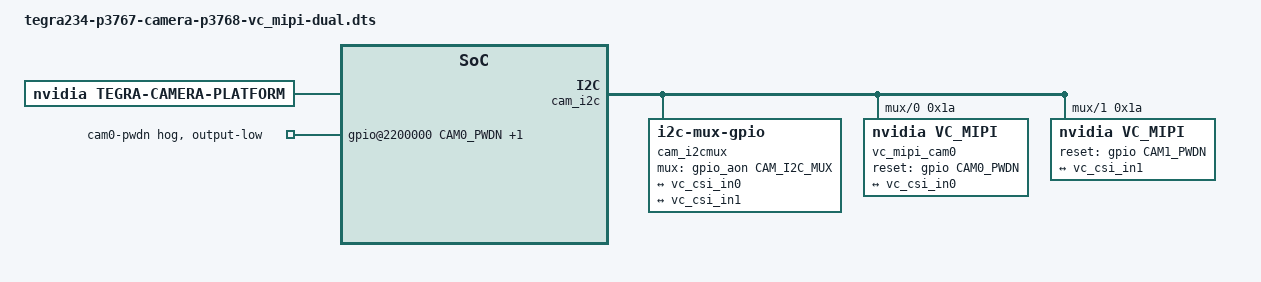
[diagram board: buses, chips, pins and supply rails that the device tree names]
// SPDX-License-Identifier: GPL-2.0-only
// SPDX-FileCopyrightText: Copyright (c) 2023, NVIDIA CORPORATION & AFFILIATES. All rights reserved.

/dts-v1/;
/plugin/;

#include <dt-bindings/tegra234-p3767-0000-common.h>

#include <dt-bindings/clock/tegra234-clock.h>
#include <dt-bindings/gpio/tegra234-gpio.h>

#define CAM_I2C_MUX	TEGRA234_AON_GPIO(CC, 3)

// ------------------------------------------------------------------------------------------------
//  Driver Configuration for NVIDIA Jetson Orin Nano on Auvidea JNX42 LM
// ------------------------------------------------------------------------------------------------
#define VC_MIPI_CAM_0       1   // 1: Enabled, 0: Disabled  (serial_a => CSI Port 0 => VI Stream 0)
#define VC_MIPI_CAM_1       1   // 1: Enabled, 0: Disabled  (serial_c => CSI Port 2 => VI Stream 2)
// ------------------------------------------------------------------------------------------------
//  Supported number of lanes
// -----+------------------------------------------------------------------------------------------
//  1   | OV7251, IMX296, IMX297
//  2   | OV9281, IMX264, IMX265
//  2,4 | IMX178, IMX183, IMX226, IMX250, IMX252, IMX273, IMX290, IMX327, IMX335, IMX392, 
//      | IMX412, IMX415, IMX462, IMX565, IMX566, IMX567, IMX568, IMX900
// -----+------------------------------------------------------------------------------------------
#define VC_MIPI_LANES       4   // 1, 2, 4 Lanes
// ------------------------------------------------------------------------------------------------
//  Embedded Metadata Height
// -----+------------------------------------------------------------------------------------------
//  0   | IMX178, IMX183, IMX226, IMX250, IMX252, IMX264, IMX265, IMX273, IMX392, OV7251, OV9281
//  1   | IMX290, IMX327, IMX335, IMX415, IMX462, IMX565, IMX566, IMX567, IMX568, IMX900
//  2   | IMX296, IMX297, IMX412
// -----+------------------------------------------------------------------------------------------
#define VC_MIPI_METADATA_H  "1" // "0", "1", "2" Lines of meta data
// ------------------------------------------------------------------------------------------------
//   Sensor Manufacturer
// -----+------------------------------------------------------------------------------------------
//   1  | Sony Sensor (IMX)
//   2  | Omni Vision Sensor (OV)
// -----+------------------------------------------------------------------------------------------
#define VC_MIPI_MANUFACTURER 1
// ------------------------------------------------------------------------------------------------
//  GStreamer Support
// ------------------------------------------------------------------------------------------------
//  If you want to use GStreamer with nvarguscamerasrc you have to adjust this settings in the 
//  device tree below. The sections which have to be modified are marked by a comment. 
//  To find the correct parameter values please follow the instruction in the main README.md of 
//  this repository https://github.com/VC-MIPI-modules/vc_mipi_nvidia#gstreamer-support
// ------------------------------------------------------------------------------------------------

//#########################################################################
//            _                 ___
//           [U]               [USB]     ___               JNX42 LM
//           [S]      ____     [===]    [ETH]    _         Rear view
//__<usb>____[B]_____[HDMI]____[USB]____[''']___[o]__
//===================================================      Revision 1
//                    [*]        [*]     [*]               
//                   Reset      F-Rec    Pwr               Buttons with
//                                                         Force Recovery
//#########################################################################
//            _                 ___
//           [U]               [USB]     ___               JNX42 LM
//           [S]      ____     [===]    [ETH]    _         Rear view
//__<usb>____[B]_____[HDMI]____[USB]____[''']___[o]__
//===================================================      Revision >= 2
//                    [*]      [...]     [*]               
//                   Reset               Pwr               Buttons without
//                                                         Force Recovery
//#########################################################################

// Cam0 and Cam1 Trigger pins are swapped in revision 1.0
// Auvidea board revision 2 and upwards will be compatible with NVIDIA device tree.
#define REVISION 1
#if REVISION == 1
        #define CAM0_PWDN       TEGRA234_MAIN_GPIO(AC, 0)
        #define CAM1_PWDN       TEGRA234_MAIN_GPIO(H, 6)
#else
        #define CAM0_PWDN       TEGRA234_MAIN_GPIO(H, 6)
        #define CAM1_PWDN       TEGRA234_MAIN_GPIO(AC, 0)
#endif

#if VC_MIPI_LANES == 1
        #define BUS_WIDTH 1
        #define NUM_LANES "1" 
        #define NUM_CSI_LANES 2
        #define PIX_CLK_HZ "150000000"
#endif
#if VC_MIPI_LANES == 2
        #define BUS_WIDTH 2
        #define NUM_LANES "2" 
        #define NUM_CSI_LANES 4
        #define PIX_CLK_HZ "300000000"
#endif
#if VC_MIPI_LANES == 4
        #define BUS_WIDTH 4
        #define NUM_LANES "4" 
        #define NUM_CSI_LANES 8
        #define PIX_CLK_HZ "600000000"
#endif

#if VC_MIPI_CAM_0 == 1 && VC_MIPI_CAM_1 == 1
        #define VC_MIPI_CAMERAS 2
#else
        #define VC_MIPI_CAMERAS 1
#endif


/ {
        overlay-name = "Camera VCMIPI Dual";
        jetson-header-name = "Jetson 24pin CSI Connector";
        compatible = JETSON_COMPATIBLE_P3768;

        fragment@0 {
                target-path = "/";
                __overlay__ {
                        tegra-capture-vi  {
                                num-channels = <VC_MIPI_CAMERAS>;
                                ports {
                                        #address-cells = <1>;
                                        #size-cells = <0>;
#if VC_MIPI_CAM_0 == 1
                                        vc_vi_port0: port@0 {
                                                reg = <0>;
                                                vc_vi_in0: endpoint {
                                                        port-index = <0>;
                                                        bus-width = <BUS_WIDTH>;
                                                        remote-endpoint = <&vc_csi_out0>;
                                                };
                                        };
#endif
#if VC_MIPI_CAM_1 == 1
                                        vc_vi_port1: port@1 {
                                                reg = <1>;
                                                vc_vi_in1: endpoint {
                                                        port-index = <2>;
                                                        bus-width = <BUS_WIDTH>;
                                                        remote-endpoint = <&vc_csi_out1>;
                                                };
                                        };
#endif
                                }; // ports
                        };
                        tegra-camera-platform {
                                compatible = "nvidia, tegra-camera-platform";

                                num_csi_lanes = <NUM_CSI_LANES>;
                                max_lane_speed = <1500000>;
                                min_bits_per_pixel = <10>;
                                vi_peak_byte_per_pixel = <2>;
                                vi_bw_margin_pct = <25>;
                                max_pixel_rate = <240000>;
                                isp_peak_byte_per_pixel = <5>;
                                isp_bw_margin_pct = <25>;

                                modules {
#if VC_MIPI_CAM_0 == 1
                                        cam_module0: module0 {
                                                badge = "jakku_front_vc_mipi";
                                                position = "front";
                                                orientation = "1";
                                                cam_module0_drivernode0: drivernode0 {
                                                        pcl_id = "v4l2_sensor";
#if VC_MIPI_MANUFACTURER == 1
                                                        devname = "vc_mipi 10-001a";
                                                        sysfs-device-tree = "/sys/firmware/devicetree/base/bus@0/cam_i2cmux/i2c@0/vc_mipi@1a";
#else
                                                        devname = "vc_mipi 10-0060";
                                                        sysfs-device-tree = "/sys/firmware/devicetree/base/bus@0/cam_i2cmux/i2c@0/vc_mipi@60";
#endif
                                                };
                                                cam_module0_drivernode1: drivernode1 {
                                                        pcl_id = "v4l2_lens";
                                                        sysfs-device-tree = "/sys/firmware/devicetree/base/bus@0/lens@vc_mipi";
                                                };
                                        };
#endif // VC_MIPI_CAM_0

#if VC_MIPI_CAM_1 == 1
                                        cam_module1: module1 {
                                                badge = "jakku_rear_vc_mipi";
                                                position = "rear";
                                                orientation = "1";
                                                cam_module1_drivernode0: drivernode0 {
                                                        pcl_id = "v4l2_sensor";
#if VC_MIPI_MANUFACTURER == 1
                                                        devname = "vc_mipi 9-001a";
                                                        sysfs-device-tree = "/sys/firmware/devicetree/base/bus@0/cam_i2cmux/i2c@1/vc_mipi@1a";
#else
                                                        devname = "vc_mipi 9-0060";
                                                        sysfs-device-tree = "/sys/firmware/devicetree/base/bus@0/cam_i2cmux/i2c@1/vc_mipi@60";
#endif	
                                                };
                                                cam_module1_drivernode1: drivernode1 {
                                                        pcl_id = "v4l2_lens";
                                                        sysfs-device-tree = "/sys/firmware/devicetree/base/bus@0/lens@vc_mipi/";
                                                };
                                        };
#endif // VC_MIPI_CAM_1
                                };
                        };
                        bus@0 {
                                host1x@13e00000 {
                                        nvcsi@15a00000 {
                                                num-channels = <VC_MIPI_CAMERAS>;
                                                #address-cells = <1>;
                                                #size-cells = <0>;

#if VC_MIPI_CAM_0 == 1
                                                vc_csi_chan0: channel@0 {
                                                        reg = <0>;
                                                        ports {
                                                                #address-cells = <1>;
                                                                #size-cells = <0>;
                                                                vc_csi_chan0_port0: port@0 {
                                                                        reg = <0>;
                                                                        vc_csi_in0: endpoint@0 {
                                                                                port-index = <0>;
                                                                                bus-width = <BUS_WIDTH>;
                                                                                remote-endpoint = <&vc_mipi_out0>;
                                                                        };
                                                                };
                                                                vc_csi_chan0_port1: port@1 {
                                                                        reg = <1>;
                                                                        vc_csi_out0: endpoint@1 {
                                                                                remote-endpoint = <&vc_vi_in0>;
                                                                        };
                                                                };
                                                        };
                                                };
#endif
#if VC_MIPI_CAM_1 == 1
                                                vc_csi_chan1: channel@1 {
                                                        reg = <1>;
                                                        ports {
                                                                #address-cells = <1>;
                                                                #size-cells = <0>;
                                                                vc_csi_chan1_port0: port@0 {
                                                                        reg = <0>;
                                                                        vc_csi_in1: endpoint@2 {
                                                                                port-index = <2>;
                                                                                bus-width = <BUS_WIDTH>;
                                                                                remote-endpoint = <&vc_mipi_out1>;
                                                                        };
                                                                };
                                                                vc_csi_chan1_port1: port@1 {
                                                                        reg = <1>;
                                                                        vc_csi_out1: endpoint@3 {
                                                                                remote-endpoint = <&vc_vi_in1>;
                                                                        };
                                                                };
                                                        };
                                                };
#endif
                                        };
                                };

                                cam_i2cmux {
                                        status = "okay";
                                        compatible = "i2c-mux-gpio";
                                        #address-cells = <1>;
                                        #size-cells = <0>;
                                        mux-gpios = <&gpio_aon CAM_I2C_MUX GPIO_ACTIVE_HIGH>;
                                        i2c-parent = <&cam_i2c>;

#if VC_MIPI_CAM_0 == 1
                                        i2c@0 {
                                                status = "okay";
                                                reg = <0>;
                                                #address-cells = <1>;
                                                #size-cells = <0>;

#if VC_MIPI_MANUFACTURER == 1
                                                vc_mipi_cam0: vc_mipi@1a {
                                                        reg                     = <0x1a>;
#else
                                                vc_mipi_cam0: vc_mipi@60 {
                                                        reg                     = <0x60>;
#endif
                                                        reset-gpios = <&gpio CAM0_PWDN GPIO_ACTIVE_HIGH>;

                                                        compatible              = "nvidia,vc_mipi";
                                                        devnode                 = "video0";
                                                        use_sensor_mode_id      = "false";
                                                        sensor_model            = "vc_mipi";

                                                        num_lanes               = NUM_LANES;
                                                        trigger_mode            = "0";
                                                        io_mode                 = "0";

                                                        // ----------------------------------------------------
                                                        // If you want to use GStreamer with nvarguscamerasrc
                                                        // you have to adjust this settings
                                                        physical_w              = "1.000";
                                                        physical_h              = "1.000";
                                                        // ----------------------------------------------------
                                                        // This node is needed by the Tegra framework.
                                                        // You don't have to change any settings if just want 
                                                        // to use the V4L API.
                                                        mode0 {
                                                                num_lanes                = NUM_LANES;
                                                                tegra_sinterface         = "serial_a";
                                                                embedded_metadata_height = VC_MIPI_METADATA_H;
                                                                readout_orientation      = "0";
                                                                lane_polarity            = "6";

                                                                // ----------------------------------------------------
                                                                // If you want to use GStreamer with nvarguscamerasrc
                                                                // you have to adjust this settings. 
                                                                active_l                 = "0";
                                                                active_t                 = "0";
                                                                active_w                 = "0";
                                                                active_h                 = "0";
                                                                mode_type                = "bayer";
                                                                pixel_phase              = "rggb";
                                                                csi_pixel_bit_depth      = "10";

                                                                min_gain_val             = "0";         // mdB
                                                                max_gain_val             = "48000";     // mdB
                                                                step_gain_val            = "50";       // mdB
                                                                default_gain             = "0";         // mdB

                                                                min_exp_time             = "1";         // us
                                                                max_exp_time             = "1000000";   // us
                                                                step_exp_time            = "1";         // us
                                                                default_exp_time         = "10000";     // us

                                                                // For applications like argus_camera, there should 
                                                                // be a minimal frame rate greater than zero!
                                                                min_framerate            = "100";       // mHz
                                                                max_framerate            = "60000";     // mHz
                                                                step_framerate           = "100";       // mHz
                                                                default_framerate        = "60000";     // mHz
                                                                // ----------------------------------------------------

                                                                gain_factor              = "1000";
                                                                exposure_factor          = "1000000";
                                                                framerate_factor         = "1000";
                                                                inherent_gain            = "1";
                                                                min_hdr_ratio            = "1";
                                                                max_hdr_ratio            = "1";

                                                                line_length              = "0";
                                                                phy_mode                 = "DPHY";
                                                                discontinuous_clk        = "no";
                                                                mclk_khz                 = "24000";
                                                                pix_clk_hz               = PIX_CLK_HZ;
                                                                mclk_multiplier          = "0.0";		// deprecated
                                                                cil_settletime           = "0";
                                                                dpcm_enable              = "false";

                                                                set_mode_delay_ms        = "100000";
                                                        };

                                                        ports {
                                                                #address-cells = <1>;
                                                                #size-cells = <0>;
                                                                port@0 {
                                                                        reg = <0>;
                                                                        vc_mipi_out0: endpoint {
                                                                                port-index = <0>;
                                                                                bus-width = <BUS_WIDTH>;
                                                                                remote-endpoint = <&vc_csi_in0>;
                                                                        };
                                                                };
                                                        };
                                                };
                                        };
#endif

#if VC_MIPI_CAM_1 == 1
                                        i2c@1 {
                                                status = "okay";
                                                reg = <1>;
                                                #address-cells = <1>;
                                                #size-cells = <0>;

#if VC_MIPI_MANUFACTURER == 1
                                                vc_mipi@1a {
                                                        reg                     = <0x1a>;
#else
                                                vc_mipi@60 {
                                                        reg                     = <0x60>;
#endif
                                                        reset-gpios = <&gpio CAM1_PWDN GPIO_ACTIVE_HIGH>;

                                                        compatible              = "nvidia,vc_mipi";
                                                        devnode                 = "video1";
                                                        use_sensor_mode_id      = "false";
                                                        sensor_model            = "vc_mipi";

                                                        num_lanes               = NUM_LANES;
                                                        trigger_mode            = "0";
                                                        io_mode                 = "0";

                                                        // ----------------------------------------------------
                                                        // If you want to use GStreamer with nvarguscamerasrc
                                                        // you have to adjust this settings
                                                        physical_w              = "1.000";
                                                        physical_h              = "1.000";
                                                        // ----------------------------------------------------

                                                        mode0 {
                                                                num_lanes                = NUM_LANES;
                                                                tegra_sinterface         = "serial_c";
                                                                embedded_metadata_height = VC_MIPI_METADATA_H;
                                                                readout_orientation      = "0";
                                                                lane_polarity            = "0";

                                                                // ----------------------------------------------------
                                                                // If you want to use GStreamer with nvarguscamerasrc
                                                                // you have to adjust this settings. 
                                                                active_l                 = "0";
                                                                active_t                 = "0";
                                                                active_w                 = "0";
                                                                active_h                 = "0";
                                                                mode_type                = "bayer";
                                                                pixel_phase              = "rggb";
                                                                csi_pixel_bit_depth      = "10";

                                                                min_gain_val             = "0";         // mdB
                                                                max_gain_val             = "48000";     // mdB
                                                                step_gain_val            = "100";       // mdB
                                                                default_gain             = "0";         // mdB

                                                                min_exp_time             = "1";         // us
                                                                max_exp_time             = "1000000";   // us
                                                                step_exp_time            = "1";         // us
                                                                default_exp_time         = "10000";     // us

                                                                // For applications like argus_camera, there should 
                                                                // be a minimal frame rate greater than zero!
                                                                min_framerate            = "100";       // mHz
                                                                max_framerate            = "60000";     // mHz
                                                                step_framerate           = "100";       // mHz
                                                                default_framerate        = "60000";     // mHz
                                                                // ----------------------------------------------------

                                                                gain_factor              = "1000";
                                                                exposure_factor          = "1000000";
                                                                framerate_factor         = "1000";
                                                                inherent_gain            = "1";
                                                                min_hdr_ratio            = "1";
                                                                max_hdr_ratio            = "1";

                                                                line_length              = "0";
                                                                phy_mode                 = "DPHY";
                                                                discontinuous_clk        = "no";
                                                                mclk_khz                 = "24000";
                                                                pix_clk_hz               = PIX_CLK_HZ;
                                                                mclk_multiplier          = "0.0";		// deprecated
                                                                cil_settletime           = "0";
                                                                dpcm_enable              = "false";

                                                                set_mode_delay_ms        = "100000";
                                                        };

                                                        ports {
                                                                #address-cells = <1>;
                                                                #size-cells = <0>;
                                                                port@0 {
                                                                        reg = <0>;
                                                                        vc_mipi_out1: endpoint {
                                                                                port-index = <2>;
                                                                                bus-width = <BUS_WIDTH>;
                                                                                remote-endpoint = <&vc_csi_in1>;
                                                                        };
                                                                };
                                                        };
                                                };
                                        };
#endif
                                };

                                lens@vc_mipi {
                                        min_focus_distance  = "0.0";
                                        hyper_focal         = "0.0";
                                        focal_length        = "6.0";
                                        f_number            = "2.0";
                                        aperture            = "0.0";
                                };

                                gpio@2200000 {
                                        camera-control-output-low {
                                                gpio-hog;
                                                output-low;
                                                gpios = <CAM0_PWDN 0 CAM1_PWDN 0>;
                                                label = "cam0-pwdn","cam1-pwdn";
                                        };
                                };
                        };
                };
        };
};
